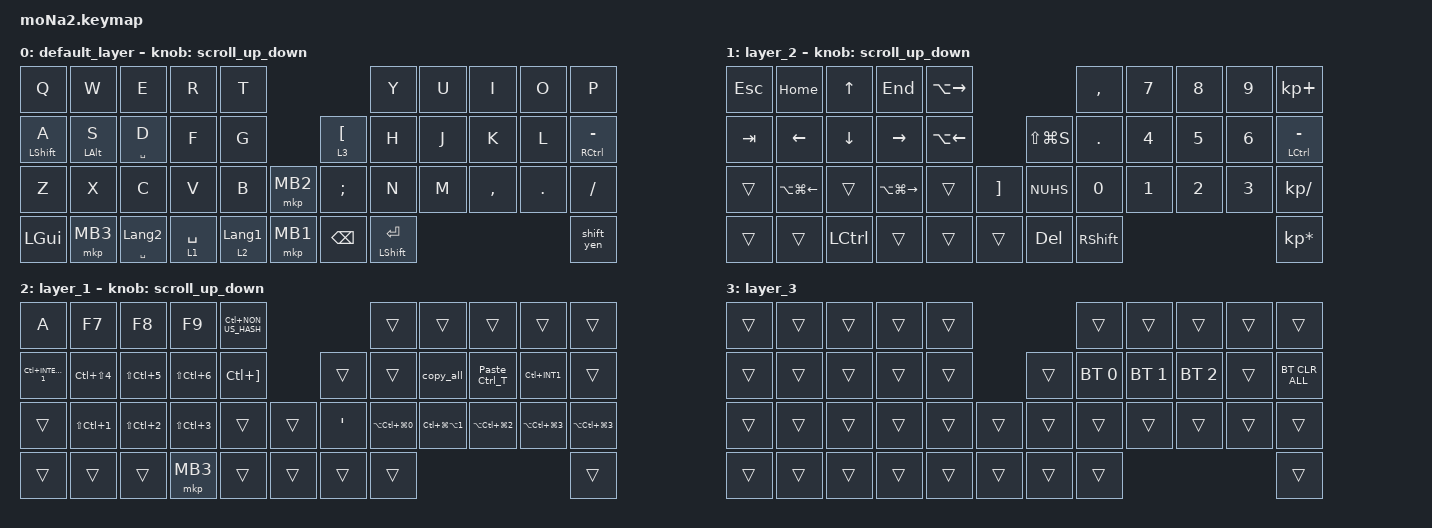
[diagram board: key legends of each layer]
#include <behaviors.dtsi>
#include <dt-bindings/zmk/bt.h>
#include <dt-bindings/zmk/keys.h>
#include <dt-bindings/zmk/pointing.h>

#define ZMK_POINTING_DEFAULT_SCRL_VAL 100
#define MOUSE 5
#define SCROLL 6

&mt {
    flavor = "balanced";
    quick-tap-ms = <0>;
    tapping-term-ms = <250>;
};

/ {
    combos {
        compatible = "zmk,combos";

        shift+ctrl {
            bindings = <&kp RS(RIGHT_CONTROL)>;
            key-positions = <12 11>;
        };

        shift {
            bindings = <&kp RIGHT_SHIFT>;
            key-positions = <10 11>;
        };

        lang2 {
            bindings = <&kp LANGUAGE_2>;
            key-positions = <12 13>;
        };

        lang1 {
            bindings = <&kp LANGUAGE_1>;
            key-positions = <17 18>;
        };

        ctrl {
            bindings = <&kp RIGHT_CONTROL>;
            key-positions = <20 19>;
        };

        shift+alt {
            bindings = <&kp RA(RIGHT_SHIFT)>;
            key-positions = <18 19>;
        };
    };

    macros {
        to_layer_0: to_layer_0 {
            compatible = "zmk,behavior-macro-one-param";
            #binding-cells = <1>;
            bindings = <&to 0 &macro_param_1to1 &kp MACRO_PLACEHOLDER>;
            label = "TO_LAYER_0";
        };

        quote_paste: quote_paste {
            compatible = "zmk,behavior-macro";
            #binding-cells = <0>;
            bindings = <&kp LS(NUMBER_2) &kp SPACE &kp LC(V)>;
            label = "QUOTE_PASTE";
        };

        copy_all: copy_all {
            compatible = "zmk,behavior-macro";
            #binding-cells = <0>;
            bindings = <&kp LC(A) &kp LC(C)>;
            label = "COPY_ALL";
        };

        Paste_Ctrl_T: Paste_Ctrl_T {
            compatible = "zmk,behavior-macro";
            #binding-cells = <0>;
            bindings = <&kp LC(A) &kp LC(V) &kp LEFT_CONTROL &kp T>;
            label = "PASTE_CTRL_T";
        };
    };

    behaviors {
        scroll_up_down: behavior_sensor_rotate_mouse_wheel_up_down {
            compatible = "zmk,behavior-sensor-rotate";
            #sensor-binding-cells = <0>;
            bindings = <&msc SCRL_DOWN>, <&msc SCRL_UP>;

            tap-ms = <20>;
        };

        lt_mouse: lt_mouse {
            compatible = "zmk,behavior-hold-tap";
            label = "LT_MOUSE";
            bindings = <&mo>, <&mkp>;

            #binding-cells = <2>;
            flavor = "tap-preferred";
            tapping-term-ms = <200>;
        };

        shift_yen: shift_yen {
            compatible = "zmk,behavior-mod-morph";
            label = "SHIFT_YEN";
            bindings = <&kp LS(INT1)>, <&kp INT1>;

            #binding-cells = <0>;
            mods = <(MOD_LSFT)>;
        };

        slash_question: slash_question {
            compatible = "zmk,behavior-mod-morph";
            label = "SLASH_QUESTION";
            bindings = <&kp LS(SLASH)>, <&kp SLASH>;

            #binding-cells = <0>;
            mods = <(MOD_LSFT)>;
        };
    };

    keymap {
        compatible = "zmk,keymap";

        default_layer {
            bindings = <
&kp Q             &kp W           &kp E                 &kp R        &kp T                                        &kp Y                 &kp U  &kp I      &kp O    &kp P
&mt LEFT_SHIFT A  &mt LEFT_ALT S  &mt SPACE D           &kp F        &kp G                         &lt 3 LBKT     &kp H                 &kp J  &kp K      &kp L    &mt RIGHT_CONTROL MINUS
&kp Z             &kp X           &kp C                 &kp V        &kp B             &mkp MB2    &kp SEMICOLON  &kp N                 &kp M  &kp COMMA  &kp DOT  &kp SLASH
&kp LEFT_GUI      &mkp MB3        &mt SPACE LANGUAGE_2  &lt 1 SPACE  &lt 2 LANGUAGE_1  &mkp MB1    &kp BACKSPACE  &mt LEFT_SHIFT ENTER                             &shift_yen
            >;

            sensor-bindings = <&scroll_up_down>;
        };

        layer_2 {
            bindings = <
&kp ESCAPE  &kp HOME          &kp UP_ARROW      &kp END            &kp LA(RIGHT_ARROW)                             &kp COMMA        &kp NUMBER_7  &kp NUMBER_8  &kp NUMBER_9  &kp KP_PLUS
&kp TAB     &kp LEFT_ARROW    &kp DOWN_ARROW    &kp RIGHT_ARROW    &kp LA(LEFT_ARROW)               &kp LS(LG(S))  &kp PERIOD       &kp NUMBER_4  &kp NUMBER_5  &kp NUMBER_6  &mt LEFT_CONTROL MINUS
&trans      &kp LA(LG(LEFT))  &trans            &kp LA(LG(RIGHT))  &trans               &kp RBKT    &kp NUHS       &kp NUMBER_0     &kp NUMBER_1  &kp NUMBER_2  &kp NUMBER_3  &kp KP_SLASH
&trans      &trans            &kp LEFT_CONTROL  &trans             &trans               &trans      &kp DELETE     &kp RIGHT_SHIFT                                            &kp KP_ASTERISK
            >;

            sensor-bindings = <&scroll_up_down>;
        };

        layer_1 {
            bindings = <
&kp A                    &kp F7                &kp F8                &kp F9                &kp LC(NON_US_HASH)                              &trans                    &trans                    &trans                    &trans                    &trans
&kp LC(INTERNATIONAL_1)  &kp LC(LS(NUMBER_4))  &kp LS(LC(NUMBER_5))  &kp LS(LC(NUMBER_6))  &kp LC(RBKT)                   &trans            &trans                    &copy_all                 &Paste_Ctrl_T             &kp LC(INT1)              &trans
&trans                   &kp LS(LC(NUMBER_1))  &kp LS(LC(NUMBER_2))  &kp LS(LC(NUMBER_3))  &trans               &trans    &kp SINGLE_QUOTE  &kp LA(LC(LG(NUMBER_0)))  &kp LC(LG(LA(NUMBER_1)))  &kp LA(LC(LG(NUMBER_2)))  &kp LA(LC(LG(NUMBER_3)))  &kp LA(LC(LG(NUMBER_3)))
&trans                   &trans                &trans                &mkp MB3              &trans               &trans    &trans            &trans                                                                                                  &trans
            >;

            sensor-bindings = <&scroll_up_down>;
        };

        layer_3 {
            bindings = <
&trans  &trans  &trans  &trans  &trans                    &trans        &trans        &trans        &trans  &trans
&trans  &trans  &trans  &trans  &trans            &trans  &bt BT_SEL 0  &bt BT_SEL 1  &bt BT_SEL 2  &trans  &bt BT_CLR_ALL
&trans  &trans  &trans  &trans  &trans  &trans    &trans  &trans        &trans        &trans        &trans  &trans
&trans  &trans  &trans  &trans  &trans  &trans    &trans  &trans                                            &trans
            >;
        };
    };
};
